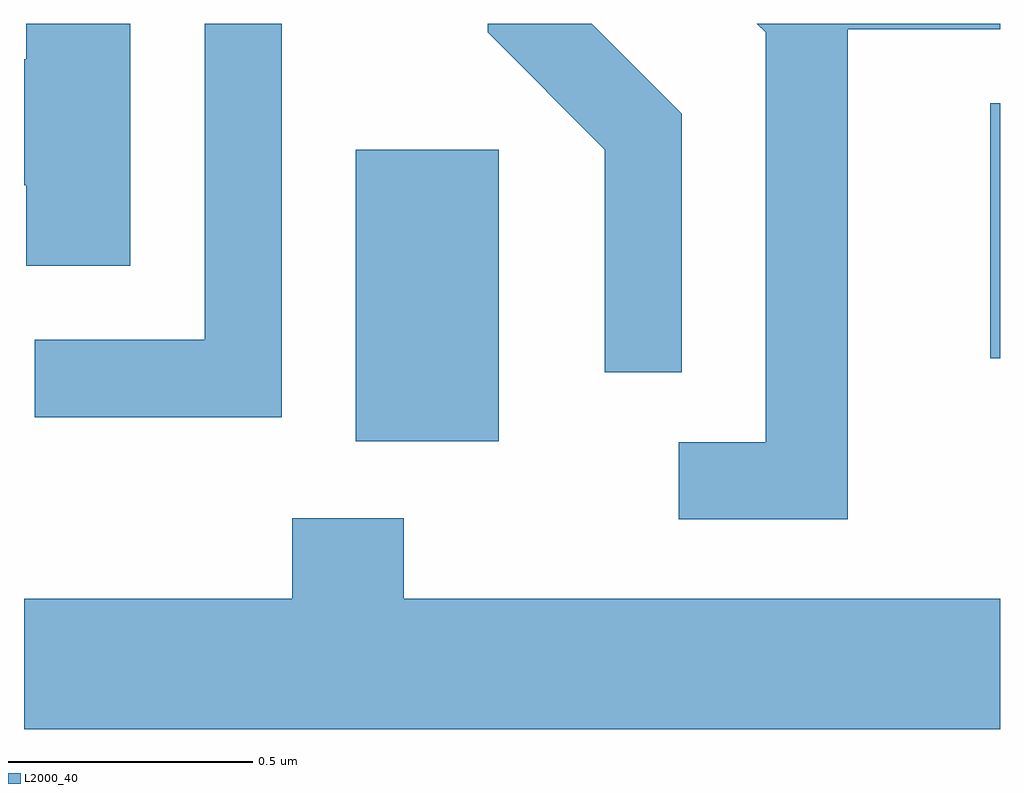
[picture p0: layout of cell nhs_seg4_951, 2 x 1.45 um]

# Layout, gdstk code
import gdstk
lib = gdstk.Library(unit=1e-6, precision=1e-09)
def R(c, l, rs):  # rectangles x0, y0, x1, y1
    for r in rs: c.add(gdstk.rectangle(r[:2], r[2:], *l))
def P(c, l, *ps):  # polygons
    for p in ps: c.add(gdstk.Polygon(p, *l))
L2000_40 = (2000, 40)

nhs_seg4_951 = lib.new_cell('nhs_seg4_951')
R(nhs_seg4_951, L2000_40, [(192.291,1384.126,192.584,1384.724), (193.591,1384.296,193.611,1384.819)])
P(nhs_seg4_951, L2000_40, [(191.829,1384.982),(191.616,1384.982),(191.616,1384.909),(191.611,1384.909),(191.611,1384.651),(191.616,1384.651),(191.616,1384.486),(191.829,1384.486)],
  [(193.299,1384.971),(193.611,1384.971),(193.611,1384.982),(193.113,1384.982),(193.131,1384.964),(193.131,1384.124),(192.953,1384.124),(192.953,1383.966),(193.299,1383.966)],
  [(192.139,1384.982),(191.981,1384.982),(191.981,1384.334),(191.633,1384.334),(191.633,1384.176),(192.139,1384.176)],
  [(192.959,1384.797),(192.774,1384.982),(192.561,1384.982),(192.561,1384.964),(192.801,1384.724),(192.801,1384.268),(192.959,1384.268)],
  [(193.611,1383.804),(192.389,1383.804),(192.389,1383.969),(192.161,1383.969),(192.161,1383.804),(191.611,1383.804),(191.611,1383.536),(193.611,1383.536)])

lib.write_gds('nhs_seg4_951.gds')
